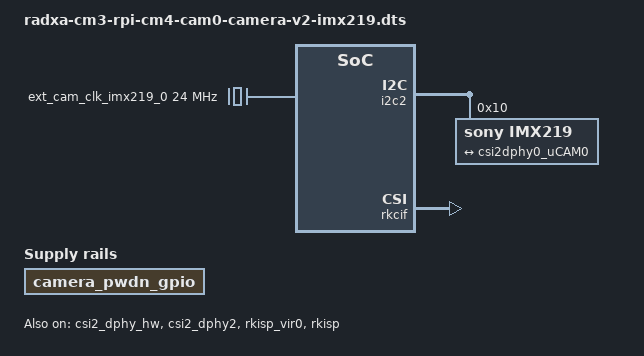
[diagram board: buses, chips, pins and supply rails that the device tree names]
/dts-v1/;
/plugin/;

#include <dt-bindings/gpio/gpio.h>
#include <dt-bindings/pinctrl/rockchip.h>

/ {
	metadata {
		title = "Enable Raspberry Pi Camera v2 on CAM0";
		compatible = "radxa,cm3-rpi-cm4-io";
		category = "camera";
		exclusive = "csi2_dphy2";
		description = "Enable Raspberry Pi Camera v2 on CAM0.";
	};

	fragment@0 {
		target-path = "/";

		__overlay__ {
			ext_cam_clk_imx219_0: ext-cam-clk-imx219-0 {
				status = "okay";
				compatible = "fixed-clock";
				clock-frequency = <24000000>;
				clock-output-names = "ext_cam_clk_imx219_0";
				#clock-cells = <0>;
			};

			camera_pwdn_gpio: camera-pwdn-gpio {
				status = "okay";
				compatible = "regulator-fixed";
				regulator-name = "camera_pwdn_gpio";
				regulator-always-on;
				regulator-boot-on;
				enable-active-high;
				pwdn-gpios = <&gpio4 RK_PC1 GPIO_ACTIVE_HIGH>;
				pinctrl-names = "default";
				pinctrl-0 = <&cam_pwdn_gpio>;
			};
		};
	};

	fragment@1 {
		target = <&i2c2>;

		__overlay__ {
			status = "okay";
			pinctrl-names = "default";
			pinctrl-0 = <&i2c2m1_xfer>;

			#address-cells = <1>;
			#size-cells = <0>;

			imx219: imx219@10 {
				status = "okay";
				compatible = "sony,imx219";
				reg = <0x10>;

				clocks = <&ext_cam_clk_imx219_0>;
				clock-names = "ext_cam_clk_imx219_0";

				rotation = <180>;

				rockchip,camera-module-index = <1>;
				rockchip,camera-module-facing = "front";
				rockchip,camera-module-name = "rpi-camera-v2";
				rockchip,camera-module-lens-name = "default";

				port {
					imx219_0_out: endpoint {
						remote-endpoint = <&csi2dphy0_uCAM0>;
						data-lanes = <1 2>;
					};
				};
			};
		};
	};

	fragment@2 {
		target = <&csi2_dphy_hw>;

		__overlay__ {
			status = "okay";
		};
	};

	fragment@3 {
		target = <&csi2_dphy2>;

		__overlay__ {
			status = "okay";

			ports {
				#address-cells = <1>;
				#size-cells = <0>;

				port@0 {
					reg = <0>;
					#address-cells = <1>;
					#size-cells = <0>;

					csi2dphy0_uCAM0: endpoint@1 {
						reg = <1>;
						remote-endpoint = <&imx219_0_out>;
						data-lanes = <1 2>;
					};
				};

				port@1 {
					reg = <1>;
					#address-cells = <1>;
					#size-cells = <0>;

					csi2dphy0_out: endpoint@1 {
						reg = <1>;
						remote-endpoint = <&isp0_in>;
					};
				};
			};
		};
	};

	fragment@4 {
		target = <&rkisp_vir0>;

		__overlay__ {
			status = "okay";

			port {
				#address-cells = <1>;
				#size-cells = <0>;

				isp0_in: endpoint@0 {
					reg = <0>;
					remote-endpoint = <&csi2dphy0_out>;
				};
			};
		};
	};

	fragment@5 {
		target = <&rkisp>;

		__overlay__ {
			status = "okay";
		};
	};

	fragment@6 {
		target = <&rkisp_mmu>;

		__overlay__ {
			status = "okay";
		};
	};

	fragment@7 {
		target = <&rkcif_mmu>;

		__overlay__ {
			status = "okay";
		};
	};

	fragment@8 {
		target = <&rkcif>;

		__overlay__ {
			status = "okay";
		};
	};


	fragment@9 {
		target = <&pinctrl>;

		__overlay__ {
			camera {
				cam_pwdn_gpio: cam-pwdn-gpio {
					rockchip,pins = <4 RK_PC1 RK_FUNC_GPIO &pcfg_pull_up>;
				};
			};
		};
	};
};
